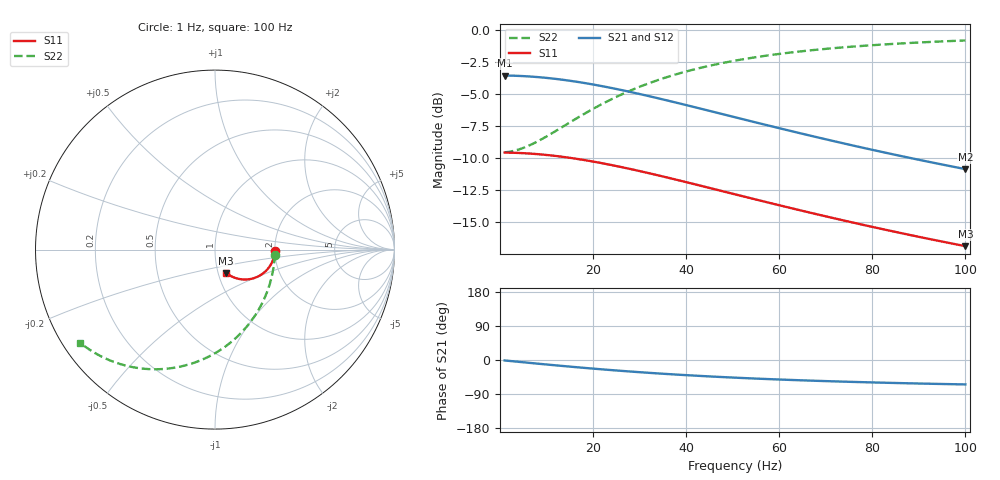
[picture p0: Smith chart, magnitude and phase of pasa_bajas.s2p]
! S2P File: Measurements: S-parameters
# Hz S RI R 50
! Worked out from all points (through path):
!   100 points, 1 Hz to 100 Hz, reference 50 ohm
!   highest |S21| = -3.52 dB at 1 Hz (marker M1); lowest = -10.8 dB at 100 Hz (marker M2)
!   group delay of S21, straight-line fit = 1.71 ms
!   lowest |S11| = -16.9 dB at 100 Hz (marker M3), VSWR 1.34, Z = 54.6 - j14.5 ohm
!   |S11| at or under -10 dB: 15.91 Hz to end of sweep
!   |S22| runs from -9.5 to -0.8 dB; largest |S21 - S12| = 2.3e-15
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1  0.3332 -0.00698  0.6664 -0.014  0.6664 -0.014  0.3327 -0.0279
3  0.332 -0.0209  0.664 -0.0417  0.664 -0.0417  0.3281 -0.0834
5  0.3297 -0.0345  0.6594 -0.0691  0.6594 -0.0691  0.3189 -0.1381
9  0.3219 -0.0607  0.6438 -0.1214  0.6438 -0.1214  0.2876 -0.2427
11  0.3165 -0.0729  0.6331 -0.1458  0.6331 -0.1458  0.2661 -0.2917
14  0.3069 -0.09  0.6139 -0.18  0.6139 -0.18  0.2278 -0.36
18  0.2919 -0.11  0.5837 -0.2201  0.5837 -0.2201  0.1674 -0.4401
22  0.275 -0.1267  0.5499 -0.2534  0.5499 -0.2534  0.0998 -0.5068
26  0.2571 -0.14  0.5142 -0.28  0.5142 -0.28  0.0284 -0.56
30  0.239 -0.1502  0.478 -0.3003  0.478 -0.3003  -0.0441 -0.6006
34  0.2212 -0.1575  0.4424 -0.315  0.4424 -0.315  -0.1153 -0.63
38  0.2041 -0.1624  0.4081 -0.3248  0.4081 -0.3248  -0.1837 -0.6497
42  0.1879 -0.1653  0.3758 -0.3306  0.3758 -0.3306  -0.2483 -0.6612
46  0.1729 -0.1666  0.3457 -0.3331  0.3457 -0.3331  -0.3085 -0.6662
51  0.1557 -0.1663  0.3114 -0.3326  0.3114 -0.3326  -0.3772 -0.6652
55  0.1433 -0.165  0.2865 -0.33  0.2865 -0.33  -0.427 -0.6601
59  0.1319 -0.163  0.2638 -0.326  0.2638 -0.326  -0.4724 -0.652
67  0.1123 -0.1575  0.2245 -0.3151  0.2245 -0.3151  -0.5509 -0.6302
75  0.0961 -0.151  0.1923 -0.302  0.1923 -0.302  -0.6155 -0.604
84  0.0814 -0.1432  0.1628 -0.2864  0.1628 -0.2864  -0.6744 -0.5728
92  0.0707 -0.1363  0.1415 -0.2726  0.1415 -0.2726  -0.7171 -0.5451
100  0.0619 -0.1296  0.1238 -0.2592  0.1238 -0.2592  -0.7525 -0.5184
